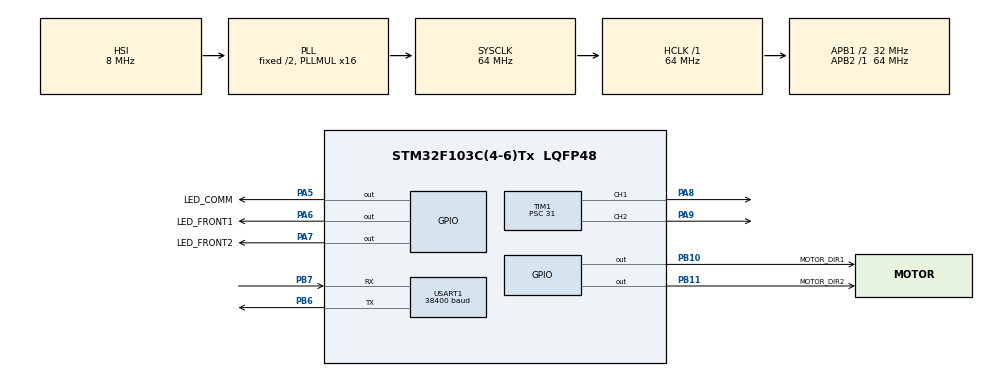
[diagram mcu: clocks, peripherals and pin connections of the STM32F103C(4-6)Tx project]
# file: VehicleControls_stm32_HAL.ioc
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Dma.Request0=USART1_RX
Dma.USART1_RX.0.Direction=DMA_PERIPH_TO_MEMORY
Dma.USART1_RX.0.Instance=DMA1_Channel5
Dma.USART1_RX.0.MemDataAlignment=DMA_MDATAALIGN_BYTE
Dma.USART1_RX.0.MemInc=DMA_MINC_ENABLE
Dma.USART1_RX.0.Mode=DMA_NORMAL
Dma.USART1_RX.0.PeriphDataAlignment=DMA_PDATAALIGN_BYTE
Dma.USART1_RX.0.PeriphInc=DMA_PINC_DISABLE
Dma.USART1_RX.0.Priority=DMA_PRIORITY_LOW
Mcu.Family=STM32F1
Mcu.Name=STM32F103C(4-6)Tx
Mcu.Package=LQFP48
NVIC.DMA1_Channel5_IRQn=true\:0\:0\:false\:true\:true\:2\:false\:true
NVIC.PriorityGroup=NVIC_PRIORITYGROUP_4
NVIC.USART1_IRQn=true\:0\:0\:false\:true\:true\:1\:true\:true
PA13.Mode=Serial_Wire
PA13.Signal=SYS_JTMS-SWDIO
PA14.Mode=Serial_Wire
PA14.Signal=SYS_JTCK-SWCLK
PA5.GPIO_Label=LED_COMM
PA5.Signal=GPIO_Output
PA6.GPIO_Label=LED_FRONT1
PA6.Signal=GPIO_Output
PA7.GPIO_Label=LED_FRONT2
PA7.Signal=GPIO_Output
PA8.Signal=S_TIM1_CH1
PA9.Signal=S_TIM1_CH2
PB10.GPIO_Label=MOTOR_DIR1
PB10.Signal=GPIO_Output
PB11.GPIO_Label=MOTOR_DIR2
PB11.Signal=GPIO_Output
PB6.Mode=Asynchronous
PB6.Signal=USART1_TX
PB7.Mode=Asynchronous
PB7.Signal=USART1_RX
ProjectManager.HeapSize=0x200
ProjectManager.StackSize=0x400
ProjectManager.TargetToolchain=STM32CubeIDE
RCC.AHBFreq_Value=64000000
RCC.APB1CLKDivider=RCC_HCLK_DIV2
RCC.APB1Freq_Value=32000000
RCC.APB1TimFreq_Value=64000000
RCC.APB2Freq_Value=64000000
RCC.APB2TimFreq_Value=64000000
RCC.HCLKFreq_Value=64000000
RCC.PLLMUL=RCC_PLL_MUL16
RCC.SYSCLKFreq_VALUE=64000000
RCC.SYSCLKSource=RCC_SYSCLKSOURCE_PLLCLK
RCC.USBFreq_Value=64000000
SH.S_TIM1_CH1.0=TIM1_CH1,PWM Generation1 CH1
SH.S_TIM1_CH2.0=TIM1_CH2,PWM Generation2 CH2
TIM1.Channel-PWM\ Generation1\ CH1=TIM_CHANNEL_1
TIM1.Channel-PWM\ Generation2\ CH2=TIM_CHANNEL_2
TIM1.Period=39999
TIM1.Prescaler=31
TIM1.Pulse-PWM\ Generation1\ CH1=200
TIM1.Pulse-PWM\ Generation2\ CH2=20000
USART1.BaudRate=38400
USART1.VirtualMode=VM_ASYNC
VP_TIM1_VS_ClockSourceINT.Mode=Internal
board=custom

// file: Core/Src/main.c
/* USER CODE BEGIN Header */
/**
  ******************************************************************************
  * @file           : main.c
  * @brief          : Main program body
  ******************************************************************************
  * @attention
  *
  * <h2><center>&copy; Copyright (c) 2021 STMicroelectronics.
  * All rights reserved.</center></h2>
  *
  * This software component is licensed by ST under BSD 3-Clause license,
  * the "License"; You may not use this file except in compliance with the
  * License. You may obtain a copy of the License at:
  *                        opensource.org/licenses/BSD-3-Clause
  *
  ******************************************************************************
  */
/* USER CODE END Header */
#include "main.h"
#include "dma.h"
#include "tim.h"
#include "usart.h"
#include "gpio.h"

/* USER CODE BEGIN Includes */
#include "JDY-09.h"
#include "stdio.h"
#include "stdlib.h"
#include "movement_control.h"
#include "parse.h"

/* USER CODE END Includes */

/* USER CODE BEGIN PV */
JDY09_t JDY09_1;
Motor_t Motor_1;
Servo_t Servo_1;
VehicleLED_t ControlLED;
uint8_t MotorOn;
uint8_t TransferBuffer[64];
uint32_t LastMsgTimer = 0;

/* USER CODE END PV */

void SystemClock_Config(void);
static void MX_NVIC_Init(void);

int main(void)
{

  /* MCU Configuration--------------------------------------------------------*/

  /* Reset of all peripherals, Initializes the Flash interface and the Systick. */
  HAL_Init();

  /* Configure the system clock */
  SystemClock_Config();

  /* Initialize all configured peripherals */
  MX_GPIO_Init();
  MX_DMA_Init();
  MX_USART1_UART_Init();
  MX_TIM1_Init();

  /* Initialize interrupts */
  MX_NVIC_Init();
  /* USER CODE BEGIN 2 */
  JDY09_Init(&JDY09_1, &huart1);
  Motor_Init(&Motor_1, &htim1, TIM_CHANNEL_2);
  Servo_Init(&Servo_1, &htim1, TIM_CHANNEL_1);

  uint8_t AckMsg[8];
  uint8_t Len;
  Len = sprintf((char*) AckMsg, "OKAY\n");

  /* USER CODE END 2 */

  /* Infinite loop */
  /* USER CODE BEGIN WHILE */
  while (1)
  {
		// check if there is msg - if yes transfer it to a buffer
		if (JDY09_CheckPendingMessages(&JDY09_1,
				TransferBuffer) == JDY09_MESSAGEPENDING)
		{
			//clear pending flag
			JDY09_ClearMsgPendingFlag(&JDY09_1);

			// fetch data from command message
			Parser_Parse(TransferBuffer, &Servo_1, &Motor_1, &ControlLED);

			// control servo
			Servo_Control(&Servo_1);

			// control motor
			Motor_Control(&Motor_1);

			// control LEDs
			LED_Control(&ControlLED);

			// feed communcation timer
			LastMsgTimer = HAL_GetTick();

			// send acknowledge message
			HAL_UART_Transmit(&huart1, AckMsg, Len, 1000);

			// start new IRQ
			JDY09_StartNewIRQRx(&JDY09_1);

		}

		//if there was no message for 3 seconds, shut down motors and LEDs
		if ((HAL_GetTick() - LastMsgTimer) > 3000)
		{
			Vehicle_Shutdown(&ControlLED, &Servo_1, &Motor_1);
		}

    /* USER CODE END WHILE */

  }
}

void SystemClock_Config(void)
{
  RCC_OscInitTypeDef RCC_OscInitStruct = {0};
  RCC_ClkInitTypeDef RCC_ClkInitStruct = {0};

  /** Initializes the RCC Oscillators according to the specified parameters
  * in the RCC_OscInitTypeDef structure.
  */
  RCC_OscInitStruct.OscillatorType = RCC_OSCILLATORTYPE_HSI;
  RCC_OscInitStruct.HSIState = RCC_HSI_ON;
  RCC_OscInitStruct.HSICalibrationValue = RCC_HSICALIBRATION_DEFAULT;
  RCC_OscInitStruct.PLL.PLLState = RCC_PLL_ON;
  RCC_OscInitStruct.PLL.PLLSource = RCC_PLLSOURCE_HSI_DIV2;
  RCC_OscInitStruct.PLL.PLLMUL = RCC_PLL_MUL16;
  if (HAL_RCC_OscConfig(&RCC_OscInitStruct) != HAL_OK)
  {
    Error_Handler();
  }
  /** Initializes the CPU, AHB and APB buses clocks
  */
  RCC_ClkInitStruct.ClockType = RCC_CLOCKTYPE_HCLK|RCC_CLOCKTYPE_SYSCLK
                              |RCC_CLOCKTYPE_PCLK1|RCC_CLOCKTYPE_PCLK2;
  RCC_ClkInitStruct.SYSCLKSource = RCC_SYSCLKSOURCE_PLLCLK;
  RCC_ClkInitStruct.AHBCLKDivider = RCC_SYSCLK_DIV1;
  RCC_ClkInitStruct.APB1CLKDivider = RCC_HCLK_DIV2;
  RCC_ClkInitStruct.APB2CLKDivider = RCC_HCLK_DIV1;

  if (HAL_RCC_ClockConfig(&RCC_ClkInitStruct, FLASH_LATENCY_2) != HAL_OK)
  {
    Error_Handler();
  }
}

/**
  * @brief NVIC Configuration.
  * @retval None
  */
static void MX_NVIC_Init(void)
{
  /* USART1_IRQn interrupt configuration */
  HAL_NVIC_SetPriority(USART1_IRQn, 0, 0);
  HAL_NVIC_EnableIRQ(USART1_IRQn);
  /* DMA1_Channel5_IRQn interrupt configuration */
  HAL_NVIC_SetPriority(DMA1_Channel5_IRQn, 0, 0);
  HAL_NVIC_EnableIRQ(DMA1_Channel5_IRQn);
}

/* USER CODE BEGIN 4 */
#if (JDY09_UART_RX_IT == 1)
void HAL_UART_RxCpltCallback(UART_HandleTypeDef *huart)
{
	// Callback from BT module
	JDY09_RxCpltCallbackIT(&JDY09_1, huart);
}
#endif

#if (JDY09_UART_RX_DMA == 1)
void HAL_UARTEx_RxEventCallback(UART_HandleTypeDef *huart, uint16_t Size)
{
	// Callback from BT module
	JDY09_RxCpltCallbackDMA(&JDY09_1, huart, Size);
}
#endif
/* USER CODE END 4 */

void Error_Handler(void)
{
  __disable_irq();
  while (1)
  {
  }
}

/************************ (C) COPYRIGHT STMicroelectronics *****END OF FILE****/
